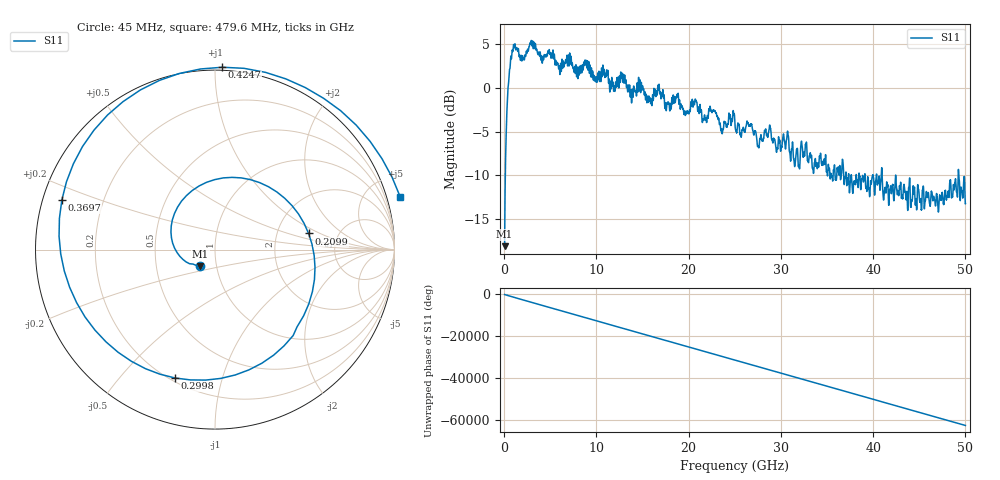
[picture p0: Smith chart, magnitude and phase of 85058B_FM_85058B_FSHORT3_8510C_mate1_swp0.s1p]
!Created with skrf (http://scikit-rf.org).
# Hz S RI R 50.0
!freq ReS11 ImS11
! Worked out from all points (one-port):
!   10001 points, 45 MHz to 50 GHz, reference 50 ohm
!   lowest |S11| = -18.1 dB at 45 MHz (marker M1), VSWR 1.28, Z = 41.7 - j7.88 ohm
!   |S11| at or under -10 dB: 39.13 GHz to 39.94 GHz (816.8 MHz wide, 2.07 % of centre); 40.97 GHz to 42.44 GHz (1.462 GHz wide, 3.51 % of centre); 42.44 GHz to 49.22 GHz (6.773 GHz wide, 14.8 % of centre) (the widest 3 of 19)
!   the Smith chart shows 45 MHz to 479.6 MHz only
!   S11 on the Smith chart (normalised r, x): 45 MHz: 0.83, -0.16; 209.9 MHz: 3.04, +0.76; 299.8 MHz: 0.22, -0.71; 369.7 MHz: 0.06, +0.16; 424.7 MHz: -0.02, +1.04; 479.6 MHz: -1.74, +6.74
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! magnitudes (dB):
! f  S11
! 45 MHz  -18.1
! 209.9 MHz  -5.5
! 299.8 MHz  -2.5
! 369.7 MHz  -0.9
! 424.7 MHz  0.1
! 479.6 MHz  0.6
! 789.3 MHz  3.4
! 1.169 GHz  5.1
! 1.978 GHz  3.7
! 3.017 GHz  4.8
! 6.289 GHz  3.0
! 12.53 GHz  1.0
! 15.81 GHz  -1.1
! 18.78 GHz  -1.0
! 19.7 GHz  -2.7
! 22.79 GHz  -2.7
! 23.56 GHz  -4.7
! 25.02 GHz  -4.2
! 26.59 GHz  -4.3
! 27.56 GHz  -6.7
! 30.61 GHz  -5.9
! 31.27 GHz  -6.2
! 32.56 GHz  -7.8
! 37.51 GHz  -10.9
! 43.76 GHz  -14.0
! 46.91 GHz  -12.3
! 49.11 GHz  -12.2
! 50 GHz  -13.3
